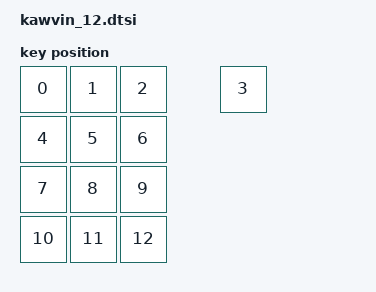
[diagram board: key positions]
/*
 * Copyright (c) 2023 The ZMK Contributors
 *
 * SPDX-License-Identifier: MIT
 */

#include <dt-bindings/zmk/matrix_transform.h>
#include <physical_layouts.dtsi>

#include <behaviors.dtsi>
#include <dt-bindings/zmk/keys.h>
#include <dt-bindings/zmk/mouse.h>

// 鼠标灵敏度（只定义一次！）
#define ZMK_MOUSE_DEFAULT_MOVE_VAL 1200
#define ZMK_MOUSE_DEFAULT_SCRL_VAL 20   // 滚轮速度

// 鼠标快捷宏（必须放在头文件之后！）
// 鼠标指针移动快捷宏
#define U_MS_U &mmv MOVE_UP
#define U_MS_D &mmv MOVE_DOWN
#define U_MS_L &mmv MOVE_LEFT
#define U_MS_R &mmv MOVE_RIGHT

// 鼠标滚轮滚动快捷宏（新增！）
// #define U_WH_U &mscrl SCRL_UP    // 滚轮向上
// #define U_WH_D &mscrl SCRL_DOWN  // 滚轮向下
// #define U_WH_L &mscrl SCRL_LEFT  // 滚轮向左（水平滚动）
// #define U_WH_R &mscrl SCRL_RIGHT // 滚轮向右（水平滚动）

// 编码器 = 滚轮上下（原生 ZMK 语法，无任何冲突！）
#define ENC_SCROLL_UP &mscrl SCRL_UP
#define ENC_SCROLL_DOWN &mscrl SCRL_DOWN

// 新版 ZMK 指针滚轮（推荐！更流畅）(新版写法)
//#define U_WH_U &pointer_vel y -120
//#define U_WH_D &pointer_vel y 120
//#define U_WH_L &pointer_vel x -120
//#define U_WH_R &pointer_vel x 120

// 鼠标按键（可选，方便使用）
#define U_MB1 &mk LMB  // 鼠标左键
#define U_MB2 &mk RMB  // 鼠标右键
#define U_MB3 &mk MMB  // 鼠标中键

/ {
    // 👇 必须加：定义按键扫描矩阵（4行3列，适配你的ky12键盘）
    kscan0: kscan_0 {
        compatible = "zmk,kscan-gpio-matrix";
        label = "KSCAN";
        
        // 行引脚（根据你的键盘实际接线修改）
        // row-gpios
        //     = <&gpio0 22 (GPIO_PULL_DOWN | GPIO_ACTIVE_HIGH)>
        //     , <&gpio0 24 (GPIO_PULL_DOWN | GPIO_ACTIVE_HIGH)>
        //     , <&gpio1  4 (GPIO_PULL_DOWN | GPIO_ACTIVE_HIGH)>
        //     , <&gpio1  6 (GPIO_PULL_DOWN | GPIO_ACTIVE_HIGH)>
        //     ;
        // 列引脚（根据你的键盘实际接线修改）
        // col-gpios
        //     = <&gpio0 20 GPIO_ACTIVE_HIGH>
        //     , <&gpio0 17 GPIO_ACTIVE_HIGH>
        //     , <&gpio0 31 GPIO_ACTIVE_HIGH>
        //     ;
    };

    // 👇 必须加：矩阵转换
    matrix_transform0: keymap_transform_0 {
        compatible = "zmk,matrix-transform";
        columns = <4>;
        rows = <4>;
        map = <
            RxC(0,0) RxC(0,1) RxC(0,2) RxC(0,3)
            RxC(1,0) RxC(1,1) RxC(1,2)
            RxC(2,0) RxC(2,1) RxC(2,2)
            RxC(3,0) RxC(3,1) RxC(3,2)
        >;
    };

    // 你的物理布局
    ky12_layout: ky12_layout {
        compatible = "zmk,physical-layout";
        display-name = "ky12v3";

        kscan = <&kscan0>;
        transform = <&matrix_transform0>;

        keys  //                     w   h    x    y     rot    rx    ry
            = <&key_physical_attrs 100 100    0    0       0     0     0>
            , <&key_physical_attrs 100 100  100    0       0     0     0>
            , <&key_physical_attrs 100 100  200    0       0     0     0>
            , <&key_physical_attrs 100 100  400    0       0     0     0>
            , <&key_physical_attrs 100 100    0  100       0     0     0>
            , <&key_physical_attrs 100 100  100  100       0     0     0>
            , <&key_physical_attrs 100 100  200  100       0     0     0>
            , <&key_physical_attrs 100 100    0  200       0     0     0>
            , <&key_physical_attrs 100 100  100  200       0     0     0>
            , <&key_physical_attrs 100 100  200  200       0     0     0>
            , <&key_physical_attrs 100 100    0  300       0     0     0>
            , <&key_physical_attrs 100 100  100  300       0     0     0>
            , <&key_physical_attrs 100 100  200  300       0     0     0>
            ;
    };

    chosen {
        physical-layouts = &ky12_layout;
    };
};

// USB 配置
&usbd {
    compatible = "nordic,nrf-usbd";
    status = "okay";
};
